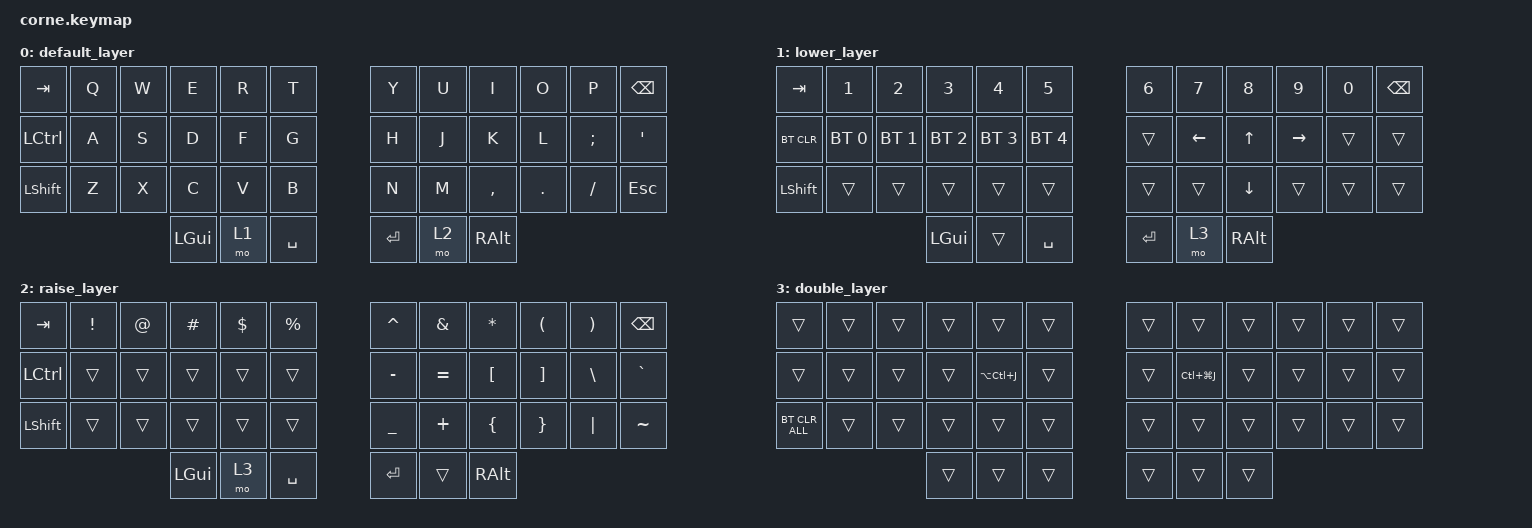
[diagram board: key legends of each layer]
/*
 * Copyright (c) 2020 The ZMK Contributors
 *
 * SPDX-License-Identifier: MIT
 */

#include <behaviors.dtsi>
#include <dt-bindings/zmk/bt.h>
#include <dt-bindings/zmk/keys.h>

/ {
    keymap {
        compatible = "zmk,keymap";

        default_layer {
            // -----------------------------------------------------------------------------------------
            // |  TAB |  Q  |  W  |  E  |  R  |  T  |   |  Y  |  U   |  I  |  O  |  P  | BKSP |
            // | SHFT |  A  |  S  |  D  |  F  |  G  |   |  H  |  J   |  K  |  L  |  ;  |  '   |
            // | CTRL |  Z  |  X  |  C  |  V  |  B  |   |  N  |  M   |  ,  |  .  |  /  | ESC  |
            //                    | GUI | LWR | SPC |   | ENT | RSE  | ALT |

            bindings = <
&kp TAB           &kp Q  &kp W  &kp E     &kp R  &kp T        &kp Y    &kp U  &kp I      &kp O    &kp P     &kp BSPC
&kp LEFT_CONTROL  &kp A  &kp S  &kp D     &kp F  &kp G        &kp H    &kp J  &kp K      &kp L    &kp SEMI  &kp SQT
&kp LEFT_SHIFT    &kp Z  &kp X  &kp C     &kp V  &kp B        &kp N    &kp M  &kp COMMA  &kp DOT  &kp FSLH  &kp ESC
                                &kp LGUI  &mo 1  &kp SPACE    &kp RET  &mo 2  &kp RALT
            >;
        };

        lower_layer {
            // -----------------------------------------------------------------------------------------
            // |  TAB |  1  |  2  |  3  |  4  |  5  |   |  6  |  7  |  8  |  9  |  0  | BKSP |
            // | SHFT | BT1 | BT2 | BT3 | BT4 | BT5 |   |     | LFT |  UP | RGT |     |      |
            // | BTCLR|     |     |     |     |     |   |     |     | DWN |     |     |      |
            //                    | GUI |     | SPC |   | ENT | DBL | ALT |

            bindings = <
&kp TAB         &kp N1        &kp N2        &kp N3        &kp N4        &kp N5          &kp N6   &kp N7    &kp N8    &kp N9     &kp N0  &kp BSPC
&bt BT_CLR      &bt BT_SEL 0  &bt BT_SEL 1  &bt BT_SEL 2  &bt BT_SEL 3  &bt BT_SEL 4    &trans   &kp LEFT  &kp UP    &kp RIGHT  &trans  &trans
&kp LEFT_SHIFT  &trans        &trans        &trans        &trans        &trans          &trans   &trans    &kp DOWN  &trans     &trans  &trans
                                            &kp LGUI      &trans        &kp SPACE       &kp RET  &mo 3     &kp RALT
            >;
        };

        raise_layer {
            // -----------------------------------------------------------------------------------------
            // |  TAB |  !  |  @  |  #  |  $  |  %  |   |  ^  |  &  |  *  |  (  |  )  | BKSP |
            // | SHFT |     |     |     |     |     |   |  -  |  =  |  [  |  ]  |  \  |  `   |
            // | CTRL |     |     |     |     |     |   |  _  |  +  |  {  |  }  | "|" |  ~   |
            //                    | GUI | DBL | SPC |   | ENT |     | ALT |

            bindings = <
&kp TAB         &kp EXCL  &kp AT  &kp HASH  &kp DLLR  &kp PRCNT    &kp CARET  &kp AMPS   &kp ASTRK  &kp LPAR  &kp RPAR  &kp BSPC
&kp LCTRL       &trans    &trans  &trans    &trans    &trans       &kp MINUS  &kp EQUAL  &kp LBKT   &kp RBKT  &kp BSLH  &kp GRAVE
&kp LEFT_SHIFT  &trans    &trans  &trans    &trans    &trans       &kp UNDER  &kp PLUS   &kp LBRC   &kp RBRC  &kp PIPE  &kp TILDE
                                  &kp LGUI  &mo 3     &kp SPACE    &kp RET    &trans     &kp RALT
            >;
        };

        double_layer {
            bindings = <
&trans          &trans  &trans  &trans  &trans         &trans    &trans  &trans         &trans  &trans  &trans  &trans
&trans          &trans  &trans  &trans  &kp LA(LC(J))  &trans    &trans  &kp LC(LG(J))  &trans  &trans  &trans  &trans
&bt BT_CLR_ALL  &trans  &trans  &trans  &trans         &trans    &trans  &trans         &trans  &trans  &trans  &trans
                                &trans  &trans         &trans    &trans  &trans         &trans
            >;
        };
    };
};
